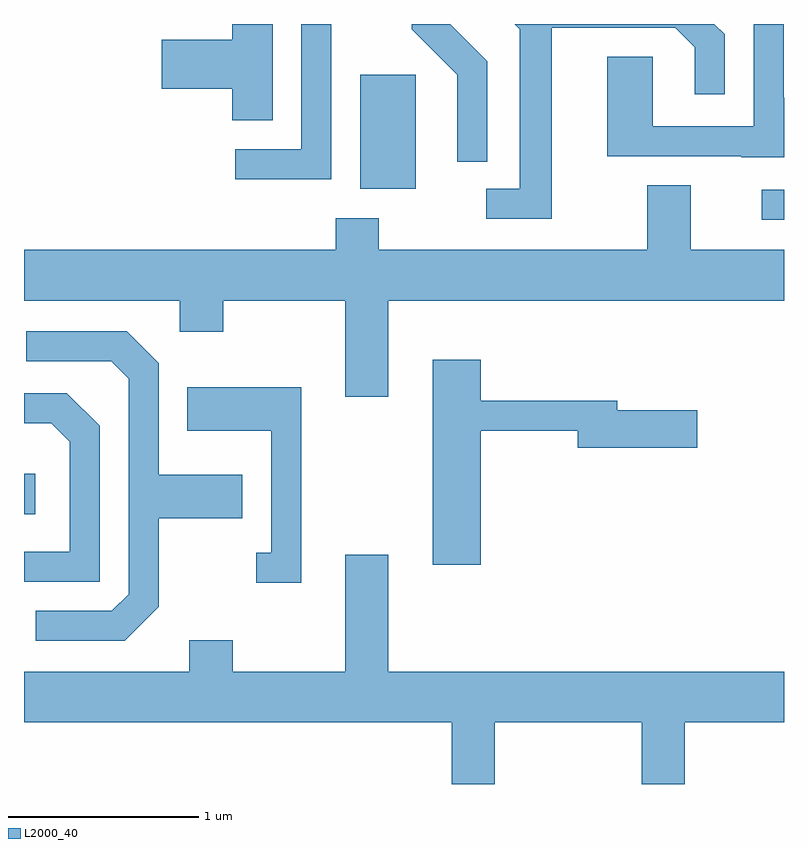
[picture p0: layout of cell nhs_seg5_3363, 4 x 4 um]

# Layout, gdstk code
import gdstk
lib = gdstk.Library(unit=1e-6, precision=1e-09)
def R(c, l, rs):  # rectangles x0, y0, x1, y1
    for r in rs: c.add(gdstk.rectangle(r[:2], r[2:], *l))
def P(c, l, *ps):  # polygons
    for p in ps: c.add(gdstk.Polygon(p, *l))
L2000_40 = (2000, 40)

nhs_seg5_3363 = lib.new_cell('nhs_seg5_3363')
R(nhs_seg5_3363, L2000_40, [(285.611,1413.491,285.669,1413.704), (289.493,1415.041,289.611,1415.199), (287.381,1415.206,287.674,1415.804)])
P(nhs_seg5_3363, L2000_40, [(286.919,1416.072),(286.706,1416.072),(286.706,1415.989),(286.336,1415.989),(286.336,1415.731),(286.706,1415.731),(286.706,1415.566),(286.919,1415.566)],
  [(287.229,1416.072),(287.071,1416.072),(287.071,1415.414),(286.723,1415.414),(286.723,1415.256),(287.229,1415.256)],
  [(288.049,1415.877),(287.854,1416.072),(287.651,1416.072),(287.651,1416.044),(287.891,1415.804),(287.891,1415.348),(288.049,1415.348)],
  [(288.389,1416.051),(289.039,1416.051),(289.141,1415.949),(289.141,1415.703),(289.299,1415.703),(289.299,1416.017),(289.244,1416.072),(288.193,1416.072),(288.221,1416.044),(288.221,1415.204),(288.043,1415.204),(288.043,1415.046),(288.389,1415.046)],
  [(289.611,1415.684),(289.609,1415.684),(289.609,1416.072),(289.451,1416.072),(289.451,1415.534),(288.919,1415.534),(288.919,1415.899),(288.681,1415.899),(288.681,1415.376),(289.385,1415.376),(289.385,1415.371),(289.611,1415.371)],
  [(287.529,1414.616),(289.611,1414.616),(289.611,1414.884),(289.119,1414.884),(289.119,1415.224),(288.891,1415.224),(288.891,1414.884),(287.479,1414.884),(287.479,1415.049),(287.251,1415.049),(287.251,1414.884),(285.611,1414.884),(285.611,1414.616),(286.431,1414.616),(286.431,1414.451),(286.659,1414.451),(286.659,1414.616),(287.301,1414.616),(287.301,1414.111),(287.529,1414.111)],
  [(286.319,1413.004),(286.319,1413.471),(286.759,1413.471),(286.759,1413.699),(286.319,1413.699),(286.319,1414.287),(286.152,1414.454),(285.623,1414.454),(285.623,1414.296),(286.069,1414.296),(286.161,1414.204),(286.161,1413.072),(286.074,1412.984),(285.673,1412.984),(285.673,1412.826),(286.142,1412.826)],
  [(288.014,1413.931),(288.526,1413.931),(288.526,1413.841),(289.154,1413.841),(289.154,1414.039),(288.734,1414.039),(288.734,1414.089),(288.014,1414.089),(288.014,1414.304),(287.761,1414.304),(287.761,1413.226),(288.014,1413.226)],
  [(287.069,1414.159),(286.471,1414.159),(286.471,1413.931),(286.911,1413.931),(286.911,1413.289),(286.833,1413.289),(286.833,1413.131),(287.069,1413.131)],
  [(286.009,1413.957),(285.837,1414.129),(285.611,1414.129),(285.611,1413.971),(285.754,1413.971),(285.851,1413.874),(285.851,1413.294),(285.611,1413.294),(285.611,1413.136),(286.009,1413.136)],
  [(288.089,1412.396),(288.861,1412.396),(288.861,1412.072),(289.089,1412.072),(289.089,1412.396),(289.611,1412.396),(289.611,1412.664),(287.529,1412.664),(287.529,1413.279),(287.301,1413.279),(287.301,1412.664),(286.709,1412.664),(286.709,1412.829),(286.481,1412.829),(286.481,1412.664),(285.611,1412.664),(285.611,1412.396),(287.861,1412.396),(287.861,1412.072),(288.089,1412.072)])

lib.write_gds('nhs_seg5_3363.gds')
